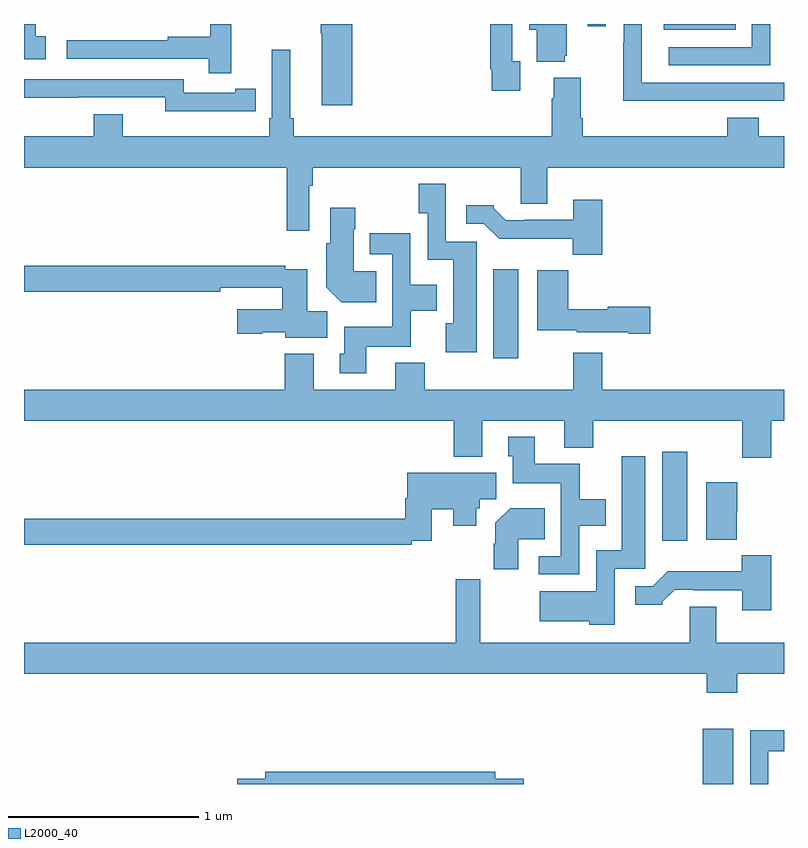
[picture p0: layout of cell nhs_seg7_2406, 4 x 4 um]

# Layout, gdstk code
import gdstk
lib = gdstk.Library(unit=1e-6, precision=1e-09)
def R(c, l, rs):  # rectangles x0, y0, x1, y1
    for r in rs: c.add(gdstk.rectangle(r[:2], r[2:], *l))
def P(c, l, *ps):  # polygons
    for p in ps: c.add(gdstk.Polygon(p, *l))
L2000_40 = (2000, 40)

nhs_seg7_2406 = lib.new_cell('nhs_seg7_2406')
R(nhs_seg7_2406, L2000_40, [(270.572,1036,270.733,1036.291), (270.359,1037.28,270.49,1037.749), (269.471,1038.24,269.602,1038.709), (270.368,1039.97,270.746,1040), (269.967,1039.989,270.063,1040)])
P(nhs_seg7_2406, L2000_40, [(267.115,1039.935),(267.062,1039.935),(267.062,1040),(267,1040),(267,1039.815),(267.115,1039.815)],
  [(270.617,1039.596),(271,1039.596),(271,1039.692),(270.252,1039.692),(270.252,1040),(270.156,1040),(270.156,1039.901),(270.154,1039.901),(270.154,1039.595),(270.617,1039.595)],
  [(270.927,1040),(270.831,1040),(270.831,1039.878),(270.393,1039.878),(270.393,1039.782),(270.927,1039.782)],
  [(268.091,1040),(267.981,1040),(267.981,1039.934),(267.757,1039.934),(267.757,1039.914),(267.225,1039.914),(267.225,1039.818),(267.973,1039.818),(267.973,1039.74),(268.091,1039.74)],
  [(269.611,1039.805),(269.571,1039.805),(269.571,1040),(269.455,1040),(269.455,1039.762),(269.463,1039.762),(269.463,1039.65),(269.611,1039.65)],
  [(268.727,1040),(268.561,1040),(268.561,1039.951),(268.568,1039.951),(268.568,1039.572),(268.727,1039.572)],
  [(269.846,1039.833),(269.857,1039.833),(269.857,1040),(269.66,1040),(269.66,1039.97),(269.699,1039.97),(269.699,1039.802),(269.846,1039.802)],
  [(267.368,1039.525),(267.368,1039.408),(267,1039.408),(267,1039.244),(268.384,1039.244),(268.384,1038.912),(268.5,1038.912),(268.5,1039.148),(268.52,1039.148),(268.52,1039.244),(269.615,1039.244),(269.615,1039.054),(269.755,1039.054),(269.755,1039.244),(271,1039.244),(271,1039.408),(270.866,1039.408),(270.866,1039.507),(270.701,1039.507),(270.701,1039.408),(269.942,1039.408),(269.942,1039.504),(269.929,1039.504),(269.929,1039.717),(269.789,1039.717),(269.789,1039.61),(269.777,1039.61),(269.777,1039.408),(268.421,1039.408),(268.421,1039.504),(268.402,1039.504),(268.402,1039.864),(268.305,1039.864),(268.305,1039.504),(268.292,1039.504),(268.292,1039.408),(267.52,1039.408),(267.52,1039.525)],
  [(268.112,1039.542),(268.22,1039.542),(268.22,1039.658),(268.112,1039.658),(268.112,1039.638),(267.84,1039.638),(267.84,1039.71),(267,1039.71),(267,1039.613),(267.284,1039.613),(267.284,1039.614),(267.744,1039.614),(267.744,1039.541),(268.112,1039.541)],
  [(269.383,1038.855),(269.22,1038.855),(269.22,1039.159),(269.077,1039.159),(269.077,1039.003),(269.124,1039.003),(269.124,1038.758),(269.258,1038.758),(269.258,1038.424),(269.22,1038.424),(269.22,1038.272),(269.383,1038.272)],
  [(270.044,1039.075),(269.891,1039.075),(269.891,1038.969),(269.635,1038.969),(269.635,1038.966),(269.536,1038.966),(269.472,1039.03),(269.472,1039.045),(269.328,1039.045),(269.328,1038.948),(269.421,1038.948),(269.5,1038.87),(269.889,1038.87),(269.889,1038.785),(270.044,1038.785)],
  [(268.853,1038.7),(268.735,1038.7),(268.735,1038.92),(268.743,1038.92),(268.743,1039.033),(268.613,1039.033),(268.613,1038.846),(268.592,1038.846),(268.592,1038.614),(268.67,1038.536),(268.853,1038.536)],
  [(268.801,1038.302),(269.036,1038.302),(269.036,1038.49),(269.173,1038.49),(269.173,1038.628),(269.034,1038.628),(269.034,1038.898),(268.821,1038.898),(268.821,1038.789),(268.938,1038.789),(268.938,1038.406),(268.685,1038.406),(268.685,1038.264),(268.661,1038.264),(268.661,1038.162),(268.801,1038.162)],
  [(268.597,1038.488),(268.492,1038.488),(268.492,1038.71),(268.376,1038.71),(268.376,1038.728),(267,1038.728),(267,1038.592),(268.034,1038.592),(268.034,1038.612),(268.358,1038.612),(268.358,1038.499),(268.122,1038.499),(268.122,1038.37),(268.254,1038.37),(268.254,1038.377),(268.374,1038.377),(268.374,1038.35),(268.597,1038.35)],
  [(270.295,1038.512),(270.072,1038.512),(270.072,1038.499),(269.864,1038.499),(269.864,1038.703),(269.702,1038.703),(269.702,1038.389),(269.91,1038.389),(269.91,1038.377),(270.182,1038.377),(270.182,1038.37),(270.295,1038.37)],
  [(270.932,1037.912),(271,1037.912),(271,1038.076),(270.044,1038.076),(270.044,1038.271),(269.891,1038.271),(269.891,1038.076),(269.108,1038.076),(269.108,1038.217),(268.955,1038.217),(268.955,1038.076),(268.525,1038.076),(268.525,1038.265),(268.373,1038.265),(268.373,1038.076),(267,1038.076),(267,1037.912),(269.261,1037.912),(269.261,1037.723),(269.413,1037.723),(269.413,1037.912),(269.843,1037.912),(269.843,1037.771),(269.996,1037.771),(269.996,1037.912),(270.779,1037.912),(270.779,1037.718),(270.932,1037.718)],
  [(269.922,1037.36),(270.061,1037.36),(270.061,1037.5),(269.925,1037.5),(269.925,1037.686),(269.689,1037.686),(269.689,1037.827),(269.549,1037.827),(269.549,1037.724),(269.573,1037.724),(269.573,1037.582),(269.826,1037.582),(269.826,1037.199),(269.709,1037.199),(269.709,1037.103),(269.922,1037.103)],
  [(270.108,1037.133),(270.271,1037.133),(270.271,1037.725),(270.146,1037.725),(270.146,1037.23),(270.012,1037.23),(270.012,1037.014),(269.715,1037.014),(269.715,1036.856),(269.976,1036.856),(269.976,1036.838),(270.108,1036.838)],
  [(269.042,1037.28),(269.146,1037.28),(269.146,1037.447),(269.258,1037.447),(269.258,1037.36),(269.38,1037.36),(269.38,1037.451),(269.398,1037.451),(269.398,1037.5),(269.485,1037.5),(269.485,1037.638),(269.018,1037.638),(269.018,1037.504),(269.006,1037.504),(269.006,1037.396),(267,1037.396),(267,1037.26),(269.042,1037.26)],
  [(270.752,1037.433),(270.754,1037.433),(270.754,1037.587),(270.59,1037.587),(270.59,1037.285),(270.752,1037.285)],
  [(269.602,1037.288),(269.741,1037.288),(269.741,1037.452),(269.558,1037.452),(269.48,1037.374),(269.48,1037.264),(269.473,1037.264),(269.473,1037.13),(269.602,1037.13)],
  [(270.932,1037.203),(270.777,1037.203),(270.777,1037.119),(270.388,1037.119),(270.309,1037.04),(270.216,1037.04),(270.216,1036.943),(270.36,1036.943),(270.36,1036.958),(270.424,1037.022),(270.523,1037.022),(270.523,1037.019),(270.779,1037.019),(270.779,1036.914),(270.932,1036.914)],
  [(270.753,1036.58),(271,1036.58),(271,1036.744),(270.643,1036.744),(270.643,1036.934),(270.503,1036.934),(270.503,1036.744),(269.401,1036.744),(269.401,1037.077),(269.272,1037.077),(269.272,1036.744),(267,1036.744),(267,1036.58),(270.593,1036.58),(270.593,1036.481),(270.753,1036.481)],
  [(270.918,1036.173),(271,1036.173),(271,1036.282),(270.822,1036.282),(270.822,1036),(270.918,1036)],
  [(269.629,1036.028),(269.479,1036.028),(269.479,1036.064),(268.271,1036.064),(268.271,1036.028),(268.122,1036.028),(268.122,1036),(269.629,1036)])

lib.write_gds('nhs_seg7_2406.gds')
